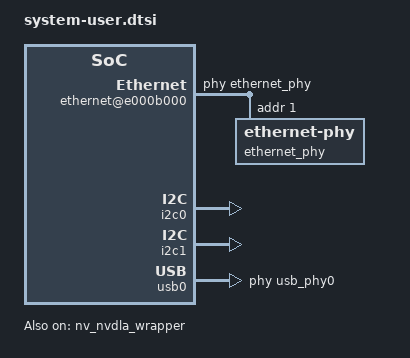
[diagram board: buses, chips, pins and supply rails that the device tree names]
/include/ "system-conf.dtsi"
/ {




reserved-memory {
#address-cells = <2 >;
#size-cells = <2 >;
ranges ;

	nvdla_reserved: buffer@0 {
	no-map;
reg = <0x0 0x40000000 0x0 0x40000000 >;
};
};

	amba {

		audio0:audio-codec-ctrl@43c00000 {
			compatible = "xlnk,audio-codec-ctrl-1.0";
			reg = <0x43c00000 0x10000>;
		};

		ethernet@e000b000 {
			phy-handle = <&ethernet_phy>;
			ethernet_phy: ethernet-phy@1{
				reg = <1>;
			};
		};
	};
        usb_phy0: phy0 {
                compatible = "ulpi-phy";
                #phy-cells = <0>;
                reg = <0xe0002000 0x1000>;
                view-port = <0x170>;
                drv-vbus;
        };

nv_nvdla_wrapper_0: nv_nvdla_wrapper@40000000 {
     compatible = "xlnx,nv-nvdla-wrapper-1.0";
	interrupt-parent = < &gic >;
	interrupts = <0 28 1>;
	reg = <0x0 0x40000000 0x0 0x10000 >;
};

};

&i2c0 {
	status = "okay";
};

&i2c1 {
	status = "okay";
};

&audio0 {
		compatible = "generic-uio";
};

&usb0 {
        usb-phy = <&usb_phy0>;
};

&nv_nvdla_wrapper {
	memory-region = <&nvdla_reserved>;
	status="okay";
	compatible = " nvidia , nv_small ";
}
